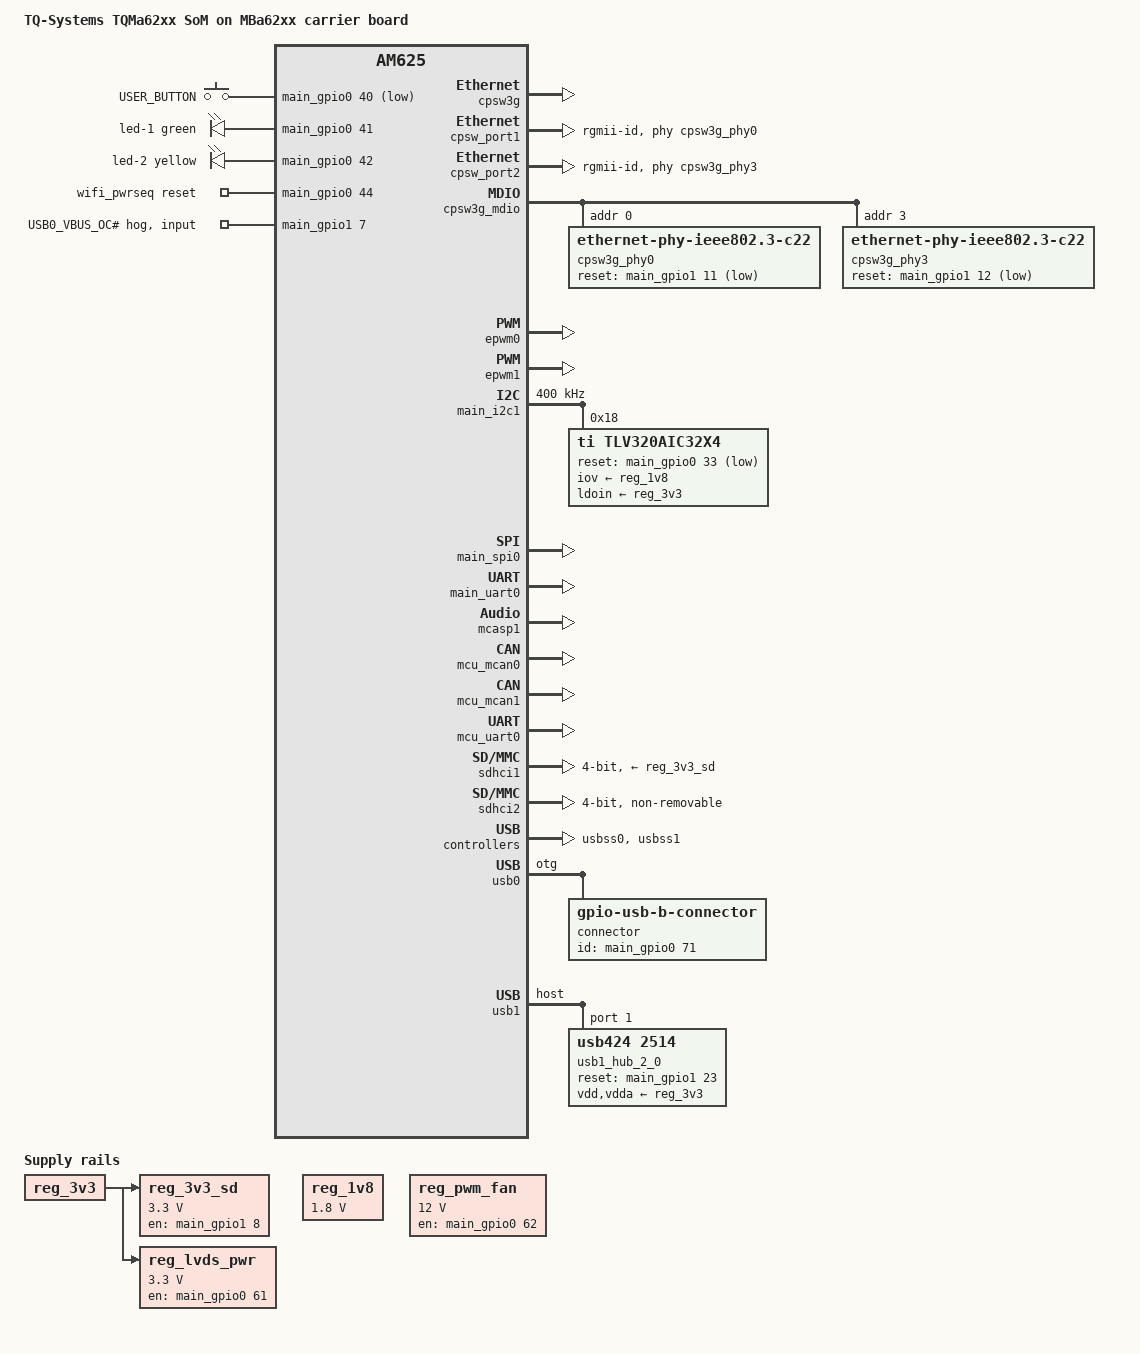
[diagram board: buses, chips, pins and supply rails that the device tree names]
// SPDX-License-Identifier: GPL-2.0-only OR MIT
/*
 * Copyright (C) 2021-2022 Texas Instruments Incorporated - https://www.ti.com/
 * Copyright (c) 2023-2026 TQ-Systems GmbH <linux@ew.tq-group.com>, D-82229 Seefeld, Germany.
 * Author: Nora Schiffer
 */

/dts-v1/;

#include <dt-bindings/gpio/gpio.h>
#include <dt-bindings/input/input.h>
#include <dt-bindings/leds/common.h>
#include <dt-bindings/net/ti-dp83867.h>
#include <dt-bindings/pwm/pwm.h>
#include "k3-am625-tqma62xx.dtsi"

/ {
	compatible = "tq,am625-tqma6254-mba62xx", "tq,am625-tqma6254",
		     "ti,am625";
	model = "TQ-Systems TQMa62xx SoM on MBa62xx carrier board";
	chassis-type = "embedded";

	aliases {
		can0 = &mcu_mcan0;
		can1 = &mcu_mcan1;
		ethernet0 = &cpsw_port1;
		ethernet1 = &cpsw_port2;
		i2c1 = &main_i2c1;
		mmc1 = &sdhci1;
		mmc2 = &sdhci2;
		serial0 = &main_uart0;
		serial1 = &mcu_uart0;
		spi1 = &main_spi0;
		usb0 = &usb0;
		usb1 = &usb1;
	};

	chosen {
		stdout-path = &main_uart0;
	};

	backlight: backlight {
		compatible = "pwm-backlight";
		pinctrl-names = "default";
		pinctrl-0 = <&backlight_pins>;
		enable-gpios = <&main_gpio0 38 GPIO_ACTIVE_HIGH>;
		/* Enabled by display overlays */
		status = "disabled";
	};

	gpio-keys {
		compatible = "gpio-keys";
		pinctrl-names = "default";
		pinctrl-0 = <&gpio_key_pins>;

		user-button {
			label = "USER_BUTTON";
			linux,code = <BTN_0>;
			gpios = <&main_gpio0 40 GPIO_ACTIVE_LOW>;
		};
	};

	gpio-leds {
		compatible = "gpio-leds";
		pinctrl-names = "default";
		pinctrl-0 = <&gpio_led_pins>;

		led-1 {
			gpios = <&main_gpio0 41 GPIO_ACTIVE_HIGH>;
			color = <LED_COLOR_ID_GREEN>;
			function = LED_FUNCTION_INDICATOR;
		};

		led-2 {
			gpios = <&main_gpio0 42 GPIO_ACTIVE_HIGH>;
			color = <LED_COLOR_ID_YELLOW>;
			function = LED_FUNCTION_INDICATOR;
		};
	};

	panel: panel {
		pinctrl-names = "default";
		pinctrl-0 = <&lvds_panel_pins>;
		enable-gpios = <&main_gpio0 36 GPIO_ACTIVE_HIGH>;
		power-supply = <&reg_lvds_pwr>;
		/* Completed and enabled by display overlays */
		status = "disabled";
	};

	fan0: pwm-fan {
		compatible = "pwm-fan";
		pinctrl-names = "default";
		pinctrl-0 = <&pwm_fan_pins>;
		fan-supply = <&reg_pwm_fan>;
		#cooling-cells = <2>;
		/* typical 25 kHz -> 40.000 nsec */
		pwms = <&epwm0 1 40000 PWM_POLARITY_INVERTED>;
		cooling-levels = <0 32 64 128 196 240>;
		pulses-per-revolution = <2>;
		interrupt-parent = <&main_gpio1>;
		interrupts = <30 IRQ_TYPE_EDGE_FALLING>;
		/*
		 * 4-pin connector for optional fan - disabled by default, as
		 * PWM period may need to be adjusted for the used fan
		 */
		status = "disabled";
	};

	wifi_pwrseq: pwrseq-wifi {
		compatible = "mmc-pwrseq-simple";
		pinctrl-names = "default";
		pinctrl-0 = <&main_mmc2_pwrseq_pins>;
		reset-gpios = <&main_gpio0 44 GPIO_ACTIVE_HIGH>;
	};

	reg_1v8: regulator-1v8 {
		compatible = "regulator-fixed";
		regulator-name = "V_1V8_MBA";
		regulator-min-microvolt = <1800000>;
		regulator-max-microvolt = <1800000>;
		regulator-always-on;
		regulator-boot-on;
	};

	reg_3v3_sd: regulator-3v3-sd {
		/* TPS22963CYZTP */
		compatible = "regulator-fixed";
		pinctrl-names = "default";
		pinctrl-0 = <&reg_3v3_sd_pins>;
		regulator-name = "V_3V3_SD";
		regulator-min-microvolt = <3300000>;
		regulator-max-microvolt = <3300000>;
		regulator-boot-on;
		enable-active-high;
		vin-supply = <&reg_3v3>;
		gpio = <&main_gpio1 8 GPIO_ACTIVE_HIGH>;
		bootph-all;
	};

	reg_lvds_pwr: regulator-lvds-pwr {
		compatible = "regulator-fixed";
		pinctrl-names = "default";
		pinctrl-0 = <&reg_lvds_pwr_pins>;
		regulator-name = "LVDS0_PWR";
		regulator-min-microvolt = <3300000>;
		regulator-max-microvolt = <3300000>;
		enable-active-high;
		vin-supply = <&reg_3v3>;
		gpio = <&main_gpio0 61 GPIO_ACTIVE_HIGH>;
	};

	reg_pwm_fan: regulator-pwm-fan {
		compatible = "regulator-fixed";
		pinctrl-names = "default";
		pinctrl-0 = <&reg_pwm_fan_pins>;
		regulator-name = "FAN_PWR";
		regulator-min-microvolt = <12000000>;
		regulator-max-microvolt = <12000000>;
		gpio = <&main_gpio0 62 GPIO_ACTIVE_HIGH>;
		enable-active-high;
	};

	sound: sound {
		compatible = "simple-audio-card";
		simple-audio-card,name = "tqm-tlv320aic32";
		simple-audio-card,widgets =
			"Line Out",	"Line Out",
			"Line In",	"Line In",
			"Microphone",	"Microphone Jack";
		simple-audio-card,routing =
			"Line Out",		"LOL",
			"Line Out",		"LOR",
			"IN1_L",		"Line In",
			"IN1_R",		"Line In",
			"IN3_L",		"Microphone Jack",
			"Microphone Jack",	"Mic Bias";
		simple-audio-card,format = "i2s";
		simple-audio-card,bitclock-master = <&sound_master>;
		simple-audio-card,frame-master = <&sound_master>;

		simple-audio-card,cpu {
			sound-dai = <&mcasp1>;
		};

		sound_master: simple-audio-card,codec {
			sound-dai = <&tlv320aic32x4>;
			clocks = <&audio_refclk0>;
		};
	};
};

&audio_refclk0 {
	/* Set parent to POSTDIV1_16FFT_MAIN_1_HSDIVOUT6, for 96MHz clock output */
	assigned-clock-parents = <&k3_clks 157 7>;
};

&cpsw3g {
	pinctrl-names = "default";
	pinctrl-0 = <&main_rgmii1_pins>, <&main_rgmii2_pins>;
	status = "okay";
};

&cpsw_port1 {
	phy-mode = "rgmii-id";
	phy-handle = <&cpsw3g_phy0>;
};

&cpsw_port2 {
	phy-mode = "rgmii-id";
	phy-handle = <&cpsw3g_phy3>;
};

&cpsw3g_mdio {
	pinctrl-names = "default";
	pinctrl-0 = <&main_mdio1_pins>;
	status = "okay";

	cpsw3g_phy0: ethernet-phy@0 {
		compatible = "ethernet-phy-ieee802.3-c22";
		reg = <0x0>;
		reset-gpios = <&main_gpio1 11 GPIO_ACTIVE_LOW>;
		reset-assert-us = <1000>;
		reset-deassert-us = <1000>;
		ti,fifo-depth = <DP83867_PHYCR_FIFO_DEPTH_4_B_NIB>;
		ti,clk-output-sel = <DP83867_CLK_O_SEL_OFF>;
	};

	cpsw3g_phy3: ethernet-phy@3 {
		compatible = "ethernet-phy-ieee802.3-c22";
		reg = <0x3>;
		reset-gpios = <&main_gpio1 12 GPIO_ACTIVE_LOW>;
		reset-assert-us = <1000>;
		reset-deassert-us = <1000>;
		ti,fifo-depth = <DP83867_PHYCR_FIFO_DEPTH_4_B_NIB>;
		ti,clk-output-sel = <DP83867_CLK_O_SEL_OFF>;
	};
};

&dss {
	pinctrl-names = "default";
	pinctrl-0 = <&dss_pins>;
};

&epwm0 {
	status = "okay";
};

&epwm1 {
	status = "okay";
};

&main_gpio0 {
	pinctrl-names = "default";
	pinctrl-0 = <&main_gpio0_pins>, <&main_gpio0_pr0_pins>;
	gpio-line-names =
		"", "", "", "", /* 0-3 */
		"", "", "", "", /* 4-7 */
		"", "", "", "", /* 8-11 */
		"ADC_SYNC", "ADC_RST#", "ADC_DATA_RDY", "", /* 12-15 */
		"", "", "", "", /* 16-19 */
		"", "", "", "", /* 20-23 */
		"", "", "", "", /* 24-27 */
		"", "", "", "", /* 28-31 */
		"", "", "", "", /* 32-35 */
		"", "", "", "BG95_PWRKEY", /* 36-39 */
		"", "", "", "BG95_RESET", /* 40-43 */
		"", "", "", "", /* 44-47 */
		"", "", "", "", /* 48-51 */
		"", "", "", "", /* 52-55 */
		"", "", "", "", /* 56-59 */
		"", "", "", "", /* 60-63 */
		"", "", "", "", /* 64-67 */
		"", "", "", "", /* 68-71 */
		"ADC_INT"; /* 72- */
	bootph-all;
};

&main_gpio1 {
	pinctrl-names = "default";
	pinctrl-0 = <&main_gpio1_pins>, <&main_gpio1_pr0_pins>;
	bootph-all;

	/* No overcurrent handling in USB host driver - pin is hogged for now */
	line7-hog {
		gpio-hog;
		gpios = <7 GPIO_ACTIVE_HIGH>;
		line-name = "USB0_VBUS_OC#";
		input;
	};
};

&main_i2c1 {
	pinctrl-names = "default";
	pinctrl-0 = <&main_i2c1_pins>;
	clock-frequency = <400000>;
	status = "okay";

	tlv320aic32x4: audio-codec@18 {
		compatible = "ti,tlv320aic32x4";
		reg = <0x18>;
		pinctrl-names = "default";
		pinctrl-0 = <&audio_codec_pins>;
		#sound-dai-cells = <0>;
		clock-names = "mclk";
		clocks = <&audio_refclk0>;
		reset-gpios = <&main_gpio0 33 GPIO_ACTIVE_LOW>;
		iov-supply = <&reg_1v8>;
		ldoin-supply = <&reg_3v3>;
	};
};

&main_spi0 {
	pinctrl-names = "default";
	pinctrl-0 = <&main_spi0_pins>;
	ti,pindir-d0-out-d1-in;
	status = "okay";

	/* adc@0: NXP NAFE13388 */
};

&main0_thermal {
	trips {
		main0_active0: trip-active0 {
			temperature = <40000>;
			hysteresis = <5000>;
			type = "active";
		};

		main0_active1: trip-active1 {
			temperature = <48000>;
			hysteresis = <3000>;
			type = "active";
		};

		main0_active2: trip-active2 {
			temperature = <60000>;
			hysteresis = <10000>;
			type = "active";
		};
	};

	cooling-maps {
		map1 {
			trip = <&main0_active0>;
			cooling-device = <&fan0 1 1>;
		};

		map2 {
			trip = <&main0_active1>;
			cooling-device = <&fan0 2 2>;
		};

		map3 {
			trip = <&main0_active2>;
			cooling-device = <&fan0 3 3>;
		};
	};
};

&main1_thermal {
	trips {
		main1_active0: trip-active0 {
			temperature = <40000>;
			hysteresis = <5000>;
			type = "active";
		};

		main1_active1: trip-active1 {
			temperature = <48000>;
			hysteresis = <3000>;
			type = "active";
		};

		main1_active2: trip-active2 {
			temperature = <60000>;
			hysteresis = <10000>;
			type = "active";
		};
	};

	cooling-maps {
		map1 {
			trip = <&main1_active0>;
			cooling-device = <&fan0 1 1>;
		};

		map2 {
			trip = <&main1_active1>;
			cooling-device = <&fan0 2 2>;
		};

		map3 {
			trip = <&main1_active2>;
			cooling-device = <&fan0 3 3>;
		};
	};
};

/* Main console */
&main_uart0 {
	pinctrl-names = "default";
	pinctrl-0 = <&main_uart0_pins>;
	bootph-all;
	status = "okay";
};

/*
 * IOT module - GNSS UART
 *
 * Board configuration must not enable UART trace output for TIFS firmware
 */
&main_uart1 {
	pinctrl-names = "default";
	pinctrl-0 = <&main_uart1_pins>;
	/* IOT module uses USB by default, UART can be enabled as fallback */
	status = "disabled";
};

/* Bluetooth module */
&main_uart2 {
	pinctrl-names = "default";
	pinctrl-0 = <&main_uart2_pins>;
	/* Bluetooth module uses SDIO by default, UART can be enabled as fallback */
	status = "disabled";
};

/* IOT module - main UART */
&main_uart5 {
	pinctrl-names = "default";
	pinctrl-0 = <&main_uart5_pins>;
	/* IOT module uses USB by default, UART can be enabled as fallback */
	status = "disabled";
};

&mcasp1 {
	pinctrl-names = "default";
	pinctrl-0 = <&main_mcasp1_pins>;
	#sound-dai-cells = <0>;
	op-mode = <0>; /* MCASP_IIS_MODE */
	tdm-slots = <2>;
	serial-dir = < /* 0: INACTIVE, 1: TX, 2: RX */
	       1 0 2 0
	       0 0 0 0
	       0 0 0 0
	       0 0 0 0
	>;
	tx-num-evt = <0>;
	rx-num-evt = <0>;
	status = "okay";
};

&mcu_gpio0 {
	pinctrl-names = "default";
	pinctrl-0 = <&mcu_gpio0_pins>;
	gpio-line-names =
		"EN_DIG_OUT_1", "EN_DIG_OUT_2", "STATUS_OUT_1", "STATUS_OUT_2", /* 0-3 */
		"EN_DIG_OUT_3", "", "", "V_VPP_EN", /* 4-7 */
		"", "", "", "EN_DIG_OUT_4", /* 8-11 */
		"STATUS_OUT_3", "", "", "", /* 12-15 */
		"", "STATUS_OUT_4", "DIG_IN_1", "DIG_IN_2", /* 16-19 */
		"DIG_IN_3", "", "", "DIG_IN_4"; /* 20-23 */
	bootph-all;
};

&mcu_mcan0 {
	pinctrl-names = "default";
	pinctrl-0 = <&mcu_mcan0_pins>;
	status = "okay";
};

&mcu_mcan1 {
	pinctrl-names = "default";
	pinctrl-0 = <&mcu_mcan1_pins>;
	status = "okay";
};

&mcu_uart0 {
	pinctrl-names = "default";
	pinctrl-0 = <&mcu_uart0_pins>;
	rs485-rts-active-low;
	linux,rs485-enabled-at-boot-time;
	status = "okay";
};

&reg_sd {
	pinctrl-names = "default";
	pinctrl-0 = <&reg_sd_pins>;
	gpios = <&main_gpio0 31 GPIO_ACTIVE_LOW>;
	bootph-all;
	status = "okay";
};

&sdhci1 {
	/* SD-card */
	pinctrl-names = "default";
	pinctrl-0 = <&main_mmc1_pins>;
	vmmc-supply = <&reg_3v3_sd>;
	vqmmc-supply = <&reg_sd>;
	bus-width = <4>;
	disable-wp;
	no-mmc;
	no-sdio;
	bootph-all;
	ti,driver-strength-ohm = <50>;
	status = "okay";
};

&sdhci2 {
	/* WLAN */
	pinctrl-names = "default";
	pinctrl-0 = <&main_mmc2_pins>;
	mmc-pwrseq = <&wifi_pwrseq>;
	keep-power-in-suspend;
	cap-power-off-card;
	bus-width = <4>;
	non-removable;
	no-mmc;
	no-sd;
	ti,driver-strength-ohm = <50>;
	ti,fails-without-test-cd;
	status = "okay";
};

&usbss0 {
	bootph-all;
	ti,vbus-divider;
	status = "okay";
};

&usbss1 {
	ti,vbus-divider;
	status = "okay";
};

&usb0 {
	pinctrl-names = "default";
	pinctrl-0 = <&main_usb0_pins>;
	dr_mode = "otg";
	usb-role-switch;
	bootph-all;

	connector {
		compatible = "gpio-usb-b-connector", "usb-b-connector";
		id-gpios = <&main_gpio0 71 GPIO_ACTIVE_HIGH>;
		type = "micro";
	};
};

&usb1 {
	pinctrl-names = "default";
	pinctrl-0 = <&main_usb1_hub_pins>;
	#address-cells = <1>;
	#size-cells = <0>;
	dr_mode = "host";

	usb1_hub_2_0: hub@1 {
		compatible = "usb424,2514";
		reg = <1>;
		reset-gpios = <&main_gpio1 23 GPIO_ACTIVE_HIGH>;
		vdd-supply = <&reg_3v3>;
		vdda-supply = <&reg_3v3>;
	};
};

&wkup_uart0 {
	/* WKUP UART0 is used by DM firmware */
	status = "reserved";
};

&main_pmx0 {
	audio_codec_pins: audio-codec-pins {
		pinctrl-single,pins = <
			/* (L24) GPMC0_OEn_REn.GPIO0_33 */
			AM62X_IOPAD(0x088, PIN_OUTPUT, 7)
			/* (A15) UART0_CTSn.AUDIO_EXT_REFCLK0 */
			AM62X_IOPAD(0x1d0, PIN_OUTPUT, 5)
		>;
	};

	backlight_pins: backlight-pins {
		pinctrl-single,pins = <
			/* (V25) GPMC0_WAIT1.GPIO0_38 */
			AM62X_IOPAD(0x009c, PIN_OUTPUT, 7)
			/* (E18) MCASP0_AXR0.EHRPWM1_B */
			AM62X_IOPAD(0x01a0, PIN_OUTPUT, 6)
		>;
	};

	dss_pins: dss-pins {
		pinctrl-single,pins = <
			/* (AA5) OLDI0_A0N */
			AM62X_IOPAD(0x0260, PIN_OUTPUT, 0)
			/* (Y6) OLDI0_A0P */
			AM62X_IOPAD(0x025c, PIN_OUTPUT, 0)
			/* (AD3) OLDI0_A1N */
			AM62X_IOPAD(0x0268, PIN_OUTPUT, 0)
			/* (AB4) OLDI0_A1P */
			AM62X_IOPAD(0x0264, PIN_OUTPUT, 0)
			/* (Y8) OLDI0_A2N */
			AM62X_IOPAD(0x0270, PIN_OUTPUT, 0)
			/* (AA8) OLDI0_A2P */
			AM62X_IOPAD(0x026c, PIN_OUTPUT, 0)
			/* (AB6) OLDI0_A3N */
			AM62X_IOPAD(0x0278, PIN_OUTPUT, 0)
			/* (AA7) OLDI0_A3P */
			AM62X_IOPAD(0x0274, PIN_OUTPUT, 0)
			/* (AC6) OLDI0_A4N */
			AM62X_IOPAD(0x0280, PIN_OUTPUT, 0)
			/* (AC5) OLDI0_A4P */
			AM62X_IOPAD(0x027c, PIN_OUTPUT, 0)
			/* (AE5) OLDI0_A5N */
			AM62X_IOPAD(0x0288, PIN_OUTPUT, 0)
			/* (AD6) OLDI0_A5P */
			AM62X_IOPAD(0x0284, PIN_OUTPUT, 0)
			/* (AE6) OLDI0_A6N */
			AM62X_IOPAD(0x0290, PIN_OUTPUT, 0)
			/* (AD7) OLDI0_A6P */
			AM62X_IOPAD(0x028c, PIN_OUTPUT, 0)
			/* (AD8) OLDI0_A7N */
			AM62X_IOPAD(0x0298, PIN_OUTPUT, 0)
			/* (AE7) OLDI0_A7P */
			AM62X_IOPAD(0x0294, PIN_OUTPUT, 0)
			/* (AD4) OLDI0_CLK0N */
			AM62X_IOPAD(0x02a0, PIN_OUTPUT, 0)
			/* (AE3) OLDI0_CLK0P */
			AM62X_IOPAD(0x029c, PIN_OUTPUT, 0)
			/* (AE4) OLDI0_CLK1N */
			AM62X_IOPAD(0x02a8, PIN_OUTPUT, 0)
			/* (AD5) OLDI0_CLK1P */
			AM62X_IOPAD(0x02a4, PIN_OUTPUT, 0)
		>;
	};

	csi_clk_pins: csi-clk-pins {
		pinctrl-single,pins = <
			/* (B18) MCASP0_AXR1.EHRPWM1_A */
			AM62X_IOPAD(0x019c, PIN_OUTPUT, 6)
		>;
	};

	gpio_key_pins: gpio-key-pins {
		pinctrl-single,pins = <
			/* (M22) GPMC0_DIR.GPIO0_40 */
			AM62X_IOPAD(0x0a4, PIN_INPUT, 7)
		>;
	};

	gpio_led_pins: gpio-led-pins {
		pinctrl-single,pins = <
			/* (M21) GPMC0_CSn0.GPIO0_41 */
			AM62X_IOPAD(0x0a8, PIN_OUTPUT, 7)
			/* (L21) GPMC0_CSn1.GPIO0_42 */
			AM62X_IOPAD(0x0ac, PIN_OUTPUT, 7)
		>;
	};

	lvds_panel_pins: lvds-panel-pins {
		pinctrl-single,pins = <
			/* (N20) GPMC0_BE1n.GPIO0_36 - LVDS0_RESET# */
			AM62X_IOPAD(0x0094, PIN_OUTPUT, 7)
		>;
	};

	main_gpio0_pins: main-gpio0-pins {
		pinctrl-single,pins = <
			/* Control GPIOs for IOT Module */
			/* (K25) GPMC0_WPn.GPIO0_39 - BG95_PWRKEY */
			AM62X_IOPAD(0x0a0, PIN_OUTPUT, 7)
			/* (K22) GPMC0_CSn2.GPIO0_43 - BG95_RESET */
			AM62X_IOPAD(0x0b0, PIN_OUTPUT, 7)
		>;
	};

	main_gpio0_pr0_pins: main-gpio0-pr0-pins {
		pinctrl-single,pins = <
			/* (N24) GPMC0_AD2.GPIO0_17  */
			AM62X_IOPAD(0x0044, PIN_INPUT, 7)
			/* (N25) GPMC0_AD3.GPIO0_18  */
			AM62X_IOPAD(0x0048, PIN_INPUT, 7)
			/* (P24) GPMC0_AD4.GPIO0_19  */
			AM62X_IOPAD(0x004c, PIN_INPUT, 7)
			/* (P22) GPMC0_AD5.GPIO0_20  */
			AM62X_IOPAD(0x0050, PIN_INPUT, 7)
			/* (W25) VOUT0_DATA2.GPIO0_47  */
			AM62X_IOPAD(0x00c0, PIN_INPUT, 7)
			/* (W24) VOUT0_DATA3.GPIO0_48  */
			AM62X_IOPAD(0x00c4, PIN_INPUT, 7)
			/* (Y25) VOUT0_DATA4.GPIO0_49  */
			AM62X_IOPAD(0x00c8, PIN_INPUT, 7)
			/* (Y24) VOUT0_DATA5.GPIO0_50  */
			AM62X_IOPAD(0x00cc, PIN_INPUT, 7)
		>;
	};

	main_gpio1_pins: main-gpio1-pins {
		pinctrl-single,pins = <
			/* (B19) MCASP0_AXR3.GPIO1_7 - USB0_VBUS_OC# */
			AM62X_IOPAD(0x0194, PIN_INPUT, 7)
		>;
	};

	main_gpio1_pr0_pins: main-gpio1-pr0-pins {
		pinctrl-single,pins = <
			/* (C15) MCAN0_TX.GPIO1_24 */
			AM62X_IOPAD(0x01d8, PIN_INPUT, 7)
			/* (E15) MCAN0_RX.GPIO1_25 */
			AM62X_IOPAD(0x01dc, PIN_INPUT, 7)
		>;
	};

	main_i2c1_pins: main-i2c1-pins {
		pinctrl-single,pins = <
			/* (B17) I2C1_SCL */
			AM62X_IOPAD(0x1e8, PIN_INPUT, 0)
			/* (A17) I2C1_SDA */
			AM62X_IOPAD(0x1ec, PIN_INPUT, 0)
		>;
	};

	main_mcasp1_pins: main-mcasp1-pins {
		pinctrl-single,pins = <
			/* (M24) GPMC0_BE0N_CLE.MCASP1_ACLKX */
			AM62X_IOPAD(0x090, PIN_INPUT, 2)
			/* (U23) GPMC0_WAIT0.MCASP1_AFSX */
			AM62X_IOPAD(0x098, PIN_INPUT, 2)
			/* (L25) GPMC0_WEN.MCASP1_AXR0 */
			AM62X_IOPAD(0x08c, PIN_OUTPUT, 2)
			/* (L23) GPMC0_ADVN_ALE.MCASP1_AXR2 */
			AM62X_IOPAD(0x084, PIN_INPUT, 2)
		>;
	};

	main_mmc1_pins: main-mmc1-pins {
		pinctrl-single,pins = <
			/* (A21) MMC1_CMD */
			AM62X_IOPAD(0x23c, PIN_INPUT, 0)
			/* (B22) MMC1_CLK */
			AM62X_IOPAD(0x234, PIN_INPUT, 0)
			/* (A22) MMC1_DAT0 */
			AM62X_IOPAD(0x230, PIN_INPUT, 0)
			/* (B21) MMC1_DAT1 */
			AM62X_IOPAD(0x22c, PIN_INPUT, 0)
			/* (C21) MMC1_DAT2 */
			AM62X_IOPAD(0x228, PIN_INPUT, 0)
			/* (D22) MMC1_DAT3 */
			AM62X_IOPAD(0x224, PIN_INPUT, 0)
			/* (D17) MMC1_SDCD */
			AM62X_IOPAD(0x240, PIN_INPUT, 0)
		>;
		bootph-all;
	};

	main_mmc2_pins: main-mmc2-pins {
		pinctrl-single,pins = <
			/* (C24) MMC2_CMD */
			AM62X_IOPAD(0x120, PIN_INPUT, 0)
			/* (D25) MMC2_CLK */
			AM62X_IOPAD(0x118, PIN_INPUT, 0)
			/* (B24) MMC2_DAT0 */
			AM62X_IOPAD(0x114, PIN_INPUT, 0)
			/* (C25) MMC2_DAT1 */
			AM62X_IOPAD(0x110, PIN_INPUT, 0)
			/* (E23) MMC2_DAT2 */
			AM62X_IOPAD(0x10c, PIN_INPUT, 0)
			/* (D24) MMC2_DAT3 */
			AM62X_IOPAD(0x108, PIN_INPUT, 0)
			/* (#N/A) MMC2_CLKB */
			AM62X_IOPAD(0x11c, PIN_INPUT, 0)
		>;
	};

	main_mmc2_pwrseq_pins: main-mmc2-pwrseq-pins {
		pinctrl-single,pins = <
			/* (K24) GPMC0_CSn3.GPIO0_44 - WIFI-BT_EN */
			AM62X_IOPAD(0x00b4, PIN_OUTPUT, 7)
		>;
	};

	main_mdio1_pins: main-mdio1-pins {
		pinctrl-single,pins = <
			/* (B20) MCASP0_ACLKX.GPIO1_11 - RESET_RGMII1# */
			AM62X_IOPAD(0x1a4, PIN_OUTPUT, 7)
			/* (D20) MCASP0_AFSX.GPIO1_12 - RESET_RGMII2# */
			AM62X_IOPAD(0x1a8, PIN_OUTPUT, 7)

			/* (AD24) MDIO0_MDC */
			AM62X_IOPAD(0x160, PIN_OUTPUT, 0)
			/* (AB22) MDIO0_MDIO */
			AM62X_IOPAD(0x15c, PIN_INPUT, 0)
		>;
	};

	main_rgmii1_pins: main-rgmii1-pins {
		pinctrl-single,pins = <
			/* (AB17) RGMII1_RD0 */
			AM62X_IOPAD(0x14c, PIN_INPUT, 0)
			/* (AC17) RGMII1_RD1 */
			AM62X_IOPAD(0x150, PIN_INPUT, 0)
			/* (AB16) RGMII1_RD2 */
			AM62X_IOPAD(0x154, PIN_INPUT, 0)
			/* (AA15) RGMII1_RD3 */
			AM62X_IOPAD(0x158, PIN_INPUT, 0)
			/* (AD17) RGMII1_RXC */
			AM62X_IOPAD(0x148, PIN_INPUT, 0)
			/* (AE17) RGMII1_RX_CTL */
			AM62X_IOPAD(0x144, PIN_INPUT, 0)
			/* (AE20) RGMII1_TD0 */
			AM62X_IOPAD(0x134, PIN_OUTPUT, 0)
			/* (AD20) RGMII1_TD1 */
			AM62X_IOPAD(0x138, PIN_OUTPUT, 0)
			/* (AE18) RGMII1_TD2 */
			AM62X_IOPAD(0x13c, PIN_OUTPUT, 0)
			/* (AD18) RGMII1_TD3 */
			AM62X_IOPAD(0x140, PIN_OUTPUT, 0)
			/* (AE19) RGMII1_TXC */
			AM62X_IOPAD(0x130, PIN_OUTPUT, 0)
			/* (AD19) RGMII1_TX_CTL */
			AM62X_IOPAD(0x12c, PIN_OUTPUT, 0)
		>;
	};

	main_rgmii2_pins: main-rgmii2-pins {
		pinctrl-single,pins = <
			/* (AE23) RGMII2_RD0 */
			AM62X_IOPAD(0x184, PIN_INPUT, 0)
			/* (AB20) RGMII2_RD1 */
			AM62X_IOPAD(0x188, PIN_INPUT, 0)
			/* (AC21) RGMII2_RD2 */
			AM62X_IOPAD(0x18c, PIN_INPUT, 0)
			/* (AE22) RGMII2_RD3 */
			AM62X_IOPAD(0x190, PIN_INPUT, 0)
			/* (AD23) RGMII2_RXC */
			AM62X_IOPAD(0x180, PIN_INPUT, 0)
			/* (AD22) RGMII2_RX_CTL */
			AM62X_IOPAD(0x17c, PIN_INPUT, 0)
			/* (Y18) RGMII2_TD0 */
			AM62X_IOPAD(0x16c, PIN_OUTPUT, 0)
			/* (AA18) RGMII2_TD1 */
			AM62X_IOPAD(0x170, PIN_OUTPUT, 0)
			/* (AD21) RGMII2_TD2 */
			AM62X_IOPAD(0x174, PIN_OUTPUT, 0)
			/* (AC20) RGMII2_TD3 */
			AM62X_IOPAD(0x178, PIN_OUTPUT, 0)
			/* (AE21) RGMII2_TXC */
			AM62X_IOPAD(0x168, PIN_OUTPUT, 0)
			/* (AA19) RGMII2_TX_CTL */
			AM62X_IOPAD(0x164, PIN_OUTPUT, 0)
		>;
	};

	main_spi0_pins: main-spi0-pins {
		pinctrl-single,pins = <
			/* (A14) SPI0_CLK */
			AM62X_IOPAD(0x1bc, PIN_OUTPUT, 0)
			/* (A13) SPI0_CS0 */
			AM62X_IOPAD(0x1b4, PIN_OUTPUT, 0)
			/* (B13) SPI0_D0 */
			AM62X_IOPAD(0x1c0, PIN_OUTPUT, 0)
			/* (B14) SPI0_D1 */
			AM62X_IOPAD(0x1c4, PIN_INPUT, 0)
		>;
	};

	main_spi0_adc_pins: main-spi0-adc-pins {
		pinctrl-single,pins = <
			/* (G21) OSPI0_CSn1.GPIO0_12 - ADC_SYNC */
			AM62X_IOPAD(0x030, PIN_INPUT, 7)
			/* (H21) OSPI0_CSn2.GPIO0_13 - ADC_RST# */
			AM62X_IOPAD(0x034, PIN_OUTPUT, 7)
			/* (E24) OSPI0_CSn3.GPIO0_14 - ADC_DATA_RDY */
			AM62X_IOPAD(0x038, PIN_INPUT, 7)
			/* (B23) MMC2_SDWP.GPIO0_72 - ADC_INT# */
			AM62X_IOPAD(0x128, PIN_INPUT, 7)
		>;
	};

	main_uart0_pins: main-uart0-pins {
		pinctrl-single,pins = <
			/* (D14) UART0_RXD */
			AM62X_IOPAD(0x1c8, PIN_INPUT, 0)
			/* (E14) UART0_TXD */
			AM62X_IOPAD(0x1cc, PIN_OUTPUT, 0)
		>;
		bootph-all;
	};

	main_uart1_pins: main-uart1-pins {
		pinctrl-single,pins = <
			/* (E19) MCASP0_AFSR.UART1_RXD */
			AM62X_IOPAD(0x1ac, PIN_INPUT, 2)
			/* (A20) MCASP0_ACLKR.UART1_TXD */
			AM62X_IOPAD(0x1b0, PIN_OUTPUT, 2)
		>;
	};

	main_uart2_pins: main-uart2-pins {
		pinctrl-single,pins = <
			/* (U22) VOUT0_DATA0.UART2_RXD */
			AM62X_IOPAD(0x0b8, PIN_INPUT, 4)
			/* (V24) VOUT0_DATA1.UART2_TXD */
			AM62X_IOPAD(0x0bc, PIN_OUTPUT, 4)
			/* (AC24) VOUT0_PCLK.UART2_CTS# */
			AM62X_IOPAD(0x104, PIN_INPUT, 4)
			/* (AC25) VOUT0_VSYNC.UART2_RTS# */
			AM62X_IOPAD(0x100, PIN_OUTPUT, 4)
		>;
	};

	main_uart5_pins: main-uart5-pins {
		pinctrl-single,pins = <
			/* (Y23) VOUT0_DATA6.UART5_RXD */
			AM62X_IOPAD(0x0d0, PIN_INPUT, 4)
			/* (AA25) VOUT0_DATA7.UART5_TXD */
			AM62X_IOPAD(0x0d4, PIN_OUTPUT, 4)
		>;
	};

	main_usb0_pins: main-usb0-pins {
		pinctrl-single,pins = <
			/* (C20) USB0_DRVVBUS */
			AM62X_IOPAD(0x254, PIN_OUTPUT, 0)
			/* (A23) MMC2_SDCD.GPIO0_71 */
			AM62X_IOPAD(0x124, PIN_INPUT, 7)
		>;
	};

	main_usb1_hub_pins: main-usb1-hub-pins {
		pinctrl-single,pins = <
			/* (B15) UART0_RTSn.GPIO1_23 - USB_HUB_RESET */
			AM62X_IOPAD(0x01d4, PIN_OUTPUT, 7)
		>;
	};

	pwm_fan_pins: pwm-fan-pins {
		pinctrl-single,pins = <
			/* (C13) SPI0_CS1.EHRPWM0_B - FAN_PWM */
			AM62X_IOPAD(0x01b8, PIN_OUTPUT, 2)
			/* (A18) EXT_REFCLK1.GPIO1_30 - FAN_RPM */
			AM62X_IOPAD(0x01f0, PIN_INPUT, 7)
		>;
	};

	reg_3v3_sd_pins: reg-3v3-sd-pins {
		pinctrl-single,pins = <
			/* (A19) MCASP0_AXR2.GPIO1_8 */
			AM62X_IOPAD(0x198, PIN_OUTPUT, 7)
		>;
		bootph-all;
	};

	reg_lvds_pwr_pins: reg-lvds-pwr-pins {
		pinctrl-single,pins = <
			/* (AB24) VOUT0_HSYNC.GPIO0_61 */
			AM62X_IOPAD(0x00f8, PIN_OUTPUT, 7)
		>;
	};

	reg_pwm_fan_pins: reg-pwm-fan-pins {
		pinctrl-single,pins = <
			/* (Y20) VOUT0_DE.GPIO0_62 */
			AM62X_IOPAD(0x00fc, PIN_OUTPUT, 7)
		>;
	};

	reg_sd_pins: reg-sd-pins {
		pinctrl-single,pins = <
			/* (P25) GPMC0_CLK.GPIO0_31 */
			AM62X_IOPAD(0x07c, PIN_OUTPUT, 7)
		>;
		bootph-all;
	};
};

&mcu_pmx0 {
	mcu_gpio0_pins: mcu-gpio0-pins {
		pinctrl-single,pins = <
			/* (E8) MCU_SPI0_CS0.MCU_GPIO0_0 - EN_DIG_OUT1 */
			AM62X_MCU_IOPAD(0x000, PIN_OUTPUT, 7)
			/* (B8) MCU_SPI0_CS1.MCU_GPIO0_1 - EN_DIG_OUT2 */
			AM62X_MCU_IOPAD(0x004, PIN_OUTPUT, 7)
			/* (A7) MCU_SPI0_CLK.MCU_GPIO0_2 - STATUS_OUT1 */
			AM62X_MCU_IOPAD(0x008, PIN_INPUT, 7)
			/* (D9) MCU_SPI0_D0.MCU_GPIO0_3 - STATUS_OUT2 */
			AM62X_MCU_IOPAD(0x00c, PIN_INPUT, 7)
			/* (C9) MCU_SPI0_D1.MCU_GPIO0_4 - EN_DIG_OUT3 */
			AM62X_MCU_IOPAD(0x010, PIN_OUTPUT, 7)
			/* (C6) WKUP_UART0_CTSn.MCU_GPIO0_11 - EN_DIG_OUT4 */
			AM62X_MCU_IOPAD(0x02c, PIN_OUTPUT, 7)
			/* (A4) WKUP_UART0_RTSn.MCU_GPIO0_12 - STATUS_OUT3 */
			AM62X_MCU_IOPAD(0x030, PIN_INPUT, 7)
			/* (A8) MCU_I2C0_SCL.MCU_GPIO0_17 - STATUS_OUT4 */
			AM62X_MCU_IOPAD(0x044, PIN_INPUT, 7)
			/* (D10) MCU_I2C0_SDA.MCU_GPIO0_18 - DIG_IN_1 */
			AM62X_MCU_IOPAD(0x048, PIN_INPUT, 7)
			/* (B9) WKUP_I2C0_SCL.MCU_GPIO0_19 - DIG_IN_2 */
			AM62X_MCU_IOPAD(0x04c, PIN_INPUT, 7)
			/* (A9) WKUP_I2C0_SDA.MCU_GPIO0_20 - DIG_IN_3 */
			AM62X_MCU_IOPAD(0x050, PIN_INPUT, 7)
			/* (A12) WKUP_CLKOUT0.MCU_GPIO0_23 - DIG_IN_4 */
			AM62X_MCU_IOPAD(0x084, PIN_INPUT, 7)
			/* (A6) MCU_UART0_CTSn.MCU_GPIO0_7 - V_VPP_EN */
			AM62X_MCU_IOPAD(0x01c, PIN_OUTPUT, 7)
		>;
	};
	mcu_mcan0_pins: mcu-mcan0-pins {
		pinctrl-single,pins = <
			/* (B3) MCU_MCAN0_RX */
			AM62X_MCU_IOPAD(0x038, PIN_INPUT, 0)
			/* (D6) MCU_MCAN0_TX */
			AM62X_MCU_IOPAD(0x034, PIN_OUTPUT, 0)
		>;
	};

	mcu_mcan1_pins: mcu-mcan1-pins {
		pinctrl-single,pins = <
			/* (D4) MCU_MCAN1_RX */
			AM62X_MCU_IOPAD(0x040, PIN_INPUT, 0)
			/* (E5) MCU_MCAN1_TX */
			AM62X_MCU_IOPAD(0x03c, PIN_OUTPUT, 0)
		>;
	};

	mcu_uart0_pins: mcu-uart0-pins {
		pinctrl-single,pins = <
			/* (B5) MCU_UART0_RXD */
			AM62X_MCU_IOPAD(0x014, PIN_INPUT, 0)
			/* (A5) MCU_UART0_TXD */
			AM62X_MCU_IOPAD(0x018, PIN_OUTPUT, 0)
			/* (B6) MCU_UART0_RTS# */
			AM62X_MCU_IOPAD(0x020, PIN_OUTPUT, 0)
		>;
	};
};
